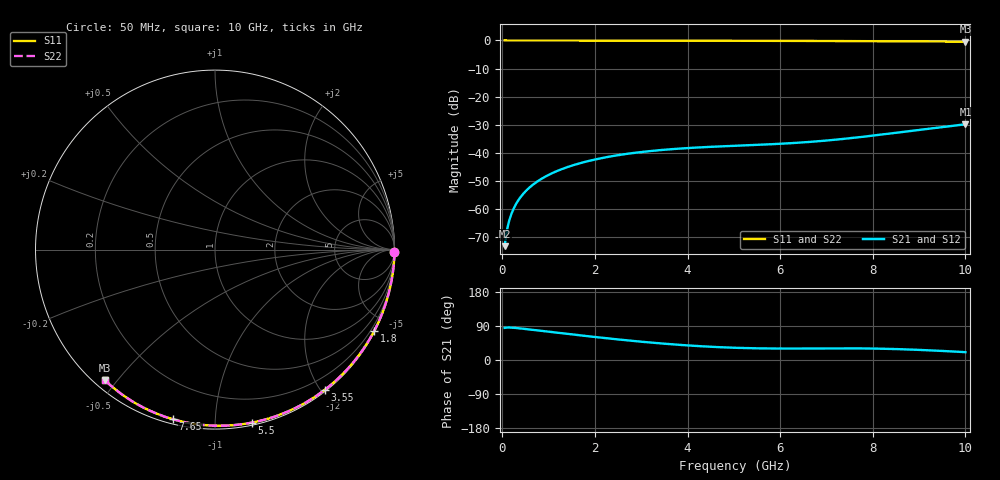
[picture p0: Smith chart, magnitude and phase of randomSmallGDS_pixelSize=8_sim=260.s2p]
! freq	dB(S11)	phase(S11)	dB(S12)	phase(S12)
!  dB(S21)	phase(S21)	dB(S22)	phase(S22)
!S-par simulation data
#  GHz  S  DB  R 50
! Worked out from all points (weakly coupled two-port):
!   200 points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, 50 MHz to 10 GHz, reference 50 ohm
!   highest |S21| = -29.85 dB at 10 GHz (marker M1); lowest = -73.3 dB at 50 MHz (marker M2)
!   lowest |S11| = -0.4 dB at 10 GHz (marker M3), VSWR 40.29, Z = 1.51 - j23.2 ohm
!   |S11| at or under -10 dB: nowhere
!   |S22| runs from -0.4 to 0.0 dB; largest |S21 - S12| = 0
!   S11 on the Smith chart (normalised r, x): 50 MHz: open; 1.8 GHz: 0.04, -4.16; 3.55 GHz: 0.02, -2.05; 5.5 GHz: 0.02, -1.24; 7.65 GHz: 0.02, -0.78; 10 GHz: 0.03, -0.46
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0.05  -0.00 -0.8  -73.27 84.8  -73.27 84.8  -0.00 -0.8
0.1  -0.00 -1.5  -67.56 85.6  -67.56 85.6  -0.00 -1.5
0.15  -0.00 -2.3  -64.12 85.7  -64.12 85.7  -0.00 -2.3
0.2  -0.00 -3.1  -61.65 85.4  -61.65 85.4  -0.00 -3.1
0.25  -0.00 -3.8  -59.73 85.0  -59.73 85.0  -0.00 -3.8
0.35  -0.00 -5.3  -56.83 83.8  -56.83 83.8  -0.00 -5.3
0.5  -0.01 -7.6  -53.77 81.8  -53.77 81.8  -0.01 -7.6
0.7  -0.01 -10.6  -50.89 79.0  -50.89 79.0  -0.01 -10.6
1  -0.02 -15.1  -47.89 74.7  -47.89 74.7  -0.02 -15.1
1.35  -0.03 -20.4  -45.43 69.7  -45.43 69.7  -0.03 -20.4
1.75  -0.03 -26.3  -43.40 64.1  -43.40 64.1  -0.03 -26.3
1.8  -0.03 -27.0  -43.19 63.4  -43.19 63.4  -0.03 -27.0
2.5  -0.05 -37.2  -40.86 54.3  -40.86 54.3  -0.05 -37.2
3.4  -0.07 -49.9  -39.07 44.0  -39.07 44.0  -0.07 -49.9
3.55  -0.07 -52.0  -38.86 42.5  -38.86 42.5  -0.07 -52.0
4.3  -0.09 -62.2  -38.05 36.2  -38.05 36.2  -0.09 -62.2
5.05  -0.11 -72.1  -37.50 32.2  -37.50 32.2  -0.11 -72.1
5.5  -0.13 -77.9  -37.19 30.8  -37.19 30.8  -0.13 -77.9
6.7  -0.18 -92.7  -36.06 30.4  -36.06 30.4  -0.18 -92.7
7.65  -0.23 -103.9  -34.56 30.7  -34.56 30.7  -0.23 -103.9
8.35  -0.28 -111.9  -33.19 29.3  -33.19 29.3  -0.28 -111.9
10  -0.43 -130.2  -29.85 20.7  -29.85 20.7  -0.43 -130.2
